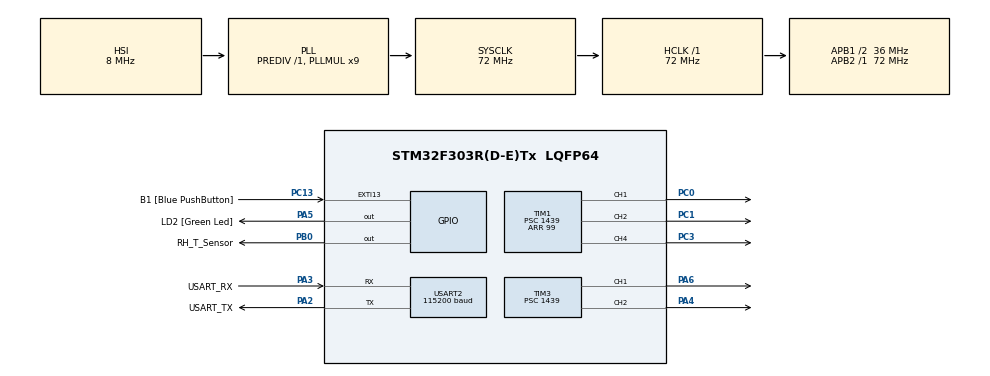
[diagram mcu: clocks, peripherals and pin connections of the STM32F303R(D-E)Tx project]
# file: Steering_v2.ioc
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Mcu.Family=STM32F3
Mcu.Name=STM32F303R(D-E)Tx
Mcu.Package=LQFP64
NVIC.PriorityGroup=NVIC_PRIORITYGROUP_0
NVIC.TIM2_IRQn=true\:0\:0\:false\:false\:true\:true\:true
NVIC.TIM4_IRQn=true\:0\:0\:true\:false\:true\:true\:true
PA13.GPIO_Label=TMS
PA13.Mode=Serial_Wire
PA13.Signal=SYS_JTMS-SWDIO
PA14.GPIO_Label=TCK
PA14.Mode=Serial_Wire
PA14.Signal=SYS_JTCK-SWCLK
PA2.GPIO_Label=USART_TX
PA2.GPIO_Mode=GPIO_MODE_AF_PP
PA2.GPIO_PuPd=GPIO_NOPULL
PA2.GPIO_Speed=GPIO_SPEED_FREQ_LOW
PA2.Mode=Asynchronous
PA2.Signal=USART2_TX
PA3.GPIO_Label=USART_RX
PA3.GPIO_Mode=GPIO_MODE_AF_PP
PA3.GPIO_PuPd=GPIO_NOPULL
PA3.GPIO_Speed=GPIO_SPEED_FREQ_LOW
PA3.Mode=Asynchronous
PA3.Signal=USART2_RX
PA4.Signal=S_TIM3_CH2
PA5.GPIO_Label=LD2 [Green Led]
PA5.GPIO_Mode=GPIO_MODE_OUTPUT_PP
PA5.GPIO_PuPd=GPIO_NOPULL
PA5.GPIO_Speed=GPIO_SPEED_FREQ_LOW
PA5.Signal=GPIO_Output
PA6.Signal=S_TIM3_CH1
PB0.GPIO_Label=RH_T_Sensor
PB0.Signal=GPIO_Output
PB3.GPIO_Label=SWO
PB3.Signal=SYS_JTDO-TRACESWO
PC0.Signal=S_TIM1_CH1
PC1.Signal=S_TIM1_CH2
PC13.GPIO_Label=B1 [Blue PushButton]
PC13.GPIO_ModeDefaultEXTI=GPIO_MODE_IT_FALLING
PC13.Signal=GPXTI13
PC14-OSC32_IN.Mode=LSE-External-Oscillator
PC14-OSC32_IN.Signal=RCC_OSC32_IN
PC15-OSC32_OUT.Mode=LSE-External-Oscillator
PC15-OSC32_OUT.Signal=RCC_OSC32_OUT
PC3.Signal=S_TIM1_CH4
PF0-OSC_IN.Mode=HSE-External-Clock-Source
PF0-OSC_IN.Signal=RCC_OSC_IN
PF1-OSC_OUT.Signal=RCC_OSC_OUT
ProjectManager.HeapSize=0x200
ProjectManager.StackSize=0x400
ProjectManager.TargetToolchain=SW4STM32
RCC.AHBFreq_Value=72000000
RCC.APB1CLKDivider=RCC_HCLK_DIV2
RCC.APB1Freq_Value=36000000
RCC.APB1TimFreq_Value=72000000
RCC.APB2Freq_Value=72000000
RCC.APB2TimFreq_Value=72000000
RCC.CortexFreq_Value=72000000
RCC.HCLKFreq_Value=72000000
RCC.HSE_VALUE=8000000
RCC.HSI_VALUE=8000000
RCC.PLLM=8
RCC.PLLMUL=RCC_PLL_MUL9
RCC.PLLN=336
RCC.PLLP=RCC_PLLP_DIV4
RCC.PLLQ=7
RCC.RCC_PLLsource_Clock_Source_FROM_HSE=RCC_HSE_PREDIV_DIV2
RCC.SYSCLKFreq_VALUE=72000000
RCC.SYSCLKSourceVirtual=RCC_SYSCLKSOURCE_PLLCLK
RCC.USBFreq_Value=72000000
SH.S_TIM1_CH1.0=TIM1_CH1,PWM Generation1 CH1
SH.S_TIM1_CH2.0=TIM1_CH2,PWM Generation2 CH2
SH.S_TIM1_CH4.0=TIM1_CH4,PWM Generation4 CH4
SH.S_TIM3_CH1.0=TIM3_CH1,PWM Generation1 CH1
SH.S_TIM3_CH2.0=TIM3_CH2,PWM Generation2 CH2
TIM1.Channel-PWM\ Generation1\ CH1=TIM_CHANNEL_1
TIM1.Channel-PWM\ Generation2\ CH2=TIM_CHANNEL_2
TIM1.Channel-PWM\ Generation4\ CH4=TIM_CHANNEL_4
TIM1.Period=99
TIM1.Prescaler=1439
TIM2.Period=999
TIM2.Prescaler=71
TIM3.Channel-PWM\ Generation1\ CH1=TIM_CHANNEL_1
TIM3.Channel-PWM\ Generation2\ CH2=TIM_CHANNEL_2
TIM3.Period=99
TIM3.Prescaler=1439
TIM4.Period=71
USART2.BaudRate=115200
USART2.VirtualMode-Asynchronous=VM_ASYNC
VP_TIM1_VS_ClockSourceINT.Mode=Internal
VP_TIM2_VS_ClockSourceINT.Mode=Internal
VP_TIM4_VS_ClockSourceINT.Mode=Internal
board=NUCLEO-F303RE

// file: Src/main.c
/* USER CODE BEGIN Header */
/**
 ******************************************************************************
 * @file           : main.c
 * @brief          : Main program body
 ******************************************************************************
 * @attention
 *
 * <h2><center>&copy; Copyright (c) 2019 STMicroelectronics.
 * All rights reserved.</center></h2>
 *
 * This software component is licensed by ST under BSD 3-Clause license,
 * the "License"; You may not use this file except in compliance with the
 * License. You may obtain a copy of the License at:
 *                        opensource.org/licenses/BSD-3-Clause
 *
 ******************************************************************************
 */
/* USER CODE END Header */

#include "main.h"

/* USER CODE BEGIN PD */
#define DELAY 1000 //oczekiwanie do komunikatu o braku odpowiedzi w ms

/* USER CODE END PD */

TIM_HandleTypeDef htim1;
TIM_HandleTypeDef htim2;
TIM_HandleTypeDef htim3;
TIM_HandleTypeDef htim4;

UART_HandleTypeDef huart2;

/* USER CODE BEGIN PV */
uint32_t timer_ms=0, timer_us=0;
uint16_t engine_timer=7000;
uint8_t RH_b1=0, RH_b2=0, T_b1=0, T_b2=0, sum=0;
uint8_t timer_ms_flag=0, timer_us_flag=0;
uint8_t error_flag=1;//flaga pozwalajaca na wylaczenie komunikatow o bledach sensora 1 - komunikaty wlaczone
uint8_t sensor_flag=0;//flaga pozwalajaca na wylaczenie odczytu z sensora 1 - odczyt wlaczony
uint8_t pullup_flag=1;//1 - z rezystorem pullup
uint8_t stage_ext=1;//etap obslugi czujnika
uint8_t pwm_vf=75, pwm_vrl=75, pwm_vrr=75;//silniki pionowe PC0 PC1 PC3
uint8_t pwm_hl=75, pwm_hr=75;//silniki poziome PA4 PA6

/* USER CODE END PV */

void SystemClock_Config(void);
static void MX_GPIO_Init(void);
static void MX_USART2_UART_Init(void);
static void MX_TIM2_Init(void);
static void MX_TIM4_Init(void);
static void MX_TIM1_Init(void);
static void MX_TIM3_Init(void);
/* USER CODE BEGIN PFP */
void HAL_TIM_PeriodElapsedCallback(TIM_HandleTypeDef *htim);
void sensor_procedure(void);
void control_procedure(void);
void init_engines(void);
void set_engine_duty(uint8_t engine, uint8_t duty);
void manual(void);
void engine_manual(void);
void commands_manual(void);
void toggle_pullup(void);
void GPIO_set_out(void);
void GPIO_set_in(void);
void DHT11_Start(void);
void check_response(void);
void read_data(void);
void send_data(void);
void send_char(char c);
int __io_putchar(int ch);
/* USER CODE END PFP */

int main(void)
{

  /* MCU Configuration--------------------------------------------------------*/

  /* Reset of all peripherals, Initializes the Flash interface and the Systick. */
  HAL_Init();

  /* Configure the system clock */
  SystemClock_Config();

  /* Initialize all configured peripherals */
  MX_GPIO_Init();
  MX_USART2_UART_Init();
  MX_TIM2_Init();
  MX_TIM4_Init();
  MX_TIM1_Init();
  MX_TIM3_Init();
  /* USER CODE BEGIN 2 */
	printf("Witaj w programie\n");
	manual();
	init_engines();
	HAL_TIM_Base_Start_IT(&htim2);
	HAL_TIM_Base_Start_IT(&htim4);
  /* USER CODE END 2 */

  /* Infinite loop */
	while (1)
	{

	}
}

void SystemClock_Config(void)
{
  RCC_OscInitTypeDef RCC_OscInitStruct = {0};
  RCC_ClkInitTypeDef RCC_ClkInitStruct = {0};
  RCC_PeriphCLKInitTypeDef PeriphClkInit = {0};

  /** Initializes the CPU, AHB and APB busses clocks
  */
  RCC_OscInitStruct.OscillatorType = RCC_OSCILLATORTYPE_HSI;
  RCC_OscInitStruct.HSIState = RCC_HSI_ON;
  RCC_OscInitStruct.HSICalibrationValue = RCC_HSICALIBRATION_DEFAULT;
  RCC_OscInitStruct.PLL.PLLState = RCC_PLL_ON;
  RCC_OscInitStruct.PLL.PLLSource = RCC_PLLSOURCE_HSI;
  RCC_OscInitStruct.PLL.PLLMUL = RCC_PLL_MUL9;
  RCC_OscInitStruct.PLL.PREDIV = RCC_PREDIV_DIV1;
  if (HAL_RCC_OscConfig(&RCC_OscInitStruct) != HAL_OK)
  {
    Error_Handler();
  }
  /** Initializes the CPU, AHB and APB busses clocks
  */
  RCC_ClkInitStruct.ClockType = RCC_CLOCKTYPE_HCLK|RCC_CLOCKTYPE_SYSCLK
                              |RCC_CLOCKTYPE_PCLK1|RCC_CLOCKTYPE_PCLK2;
  RCC_ClkInitStruct.SYSCLKSource = RCC_SYSCLKSOURCE_PLLCLK;
  RCC_ClkInitStruct.AHBCLKDivider = RCC_SYSCLK_DIV1;
  RCC_ClkInitStruct.APB1CLKDivider = RCC_HCLK_DIV2;
  RCC_ClkInitStruct.APB2CLKDivider = RCC_HCLK_DIV1;

  if (HAL_RCC_ClockConfig(&RCC_ClkInitStruct, FLASH_LATENCY_2) != HAL_OK)
  {
    Error_Handler();
  }
  PeriphClkInit.PeriphClockSelection = RCC_PERIPHCLK_USART2|RCC_PERIPHCLK_TIM1
                              |RCC_PERIPHCLK_TIM2|RCC_PERIPHCLK_TIM34;
  PeriphClkInit.Usart2ClockSelection = RCC_USART2CLKSOURCE_PCLK1;
  PeriphClkInit.Tim1ClockSelection = RCC_TIM1CLK_HCLK;
  PeriphClkInit.Tim2ClockSelection = RCC_TIM2CLK_HCLK;
  PeriphClkInit.Tim34ClockSelection = RCC_TIM34CLK_HCLK;
  if (HAL_RCCEx_PeriphCLKConfig(&PeriphClkInit) != HAL_OK)
  {
    Error_Handler();
  }
}

static void MX_TIM1_Init(void)
{

  TIM_ClockConfigTypeDef sClockSourceConfig = {0};
  TIM_MasterConfigTypeDef sMasterConfig = {0};
  TIM_OC_InitTypeDef sConfigOC = {0};
  TIM_BreakDeadTimeConfigTypeDef sBreakDeadTimeConfig = {0};

  htim1.Instance = TIM1;
  htim1.Init.Prescaler = 1439;
  htim1.Init.CounterMode = TIM_COUNTERMODE_UP;
  htim1.Init.Period = 99;
  htim1.Init.ClockDivision = TIM_CLOCKDIVISION_DIV1;
  htim1.Init.RepetitionCounter = 0;
  htim1.Init.AutoReloadPreload = TIM_AUTORELOAD_PRELOAD_DISABLE;
  if (HAL_TIM_Base_Init(&htim1) != HAL_OK)
  {
    Error_Handler();
  }
  sClockSourceConfig.ClockSource = TIM_CLOCKSOURCE_INTERNAL;
  if (HAL_TIM_ConfigClockSource(&htim1, &sClockSourceConfig) != HAL_OK)
  {
    Error_Handler();
  }
  if (HAL_TIM_PWM_Init(&htim1) != HAL_OK)
  {
    Error_Handler();
  }
  sMasterConfig.MasterOutputTrigger = TIM_TRGO_RESET;
  sMasterConfig.MasterOutputTrigger2 = TIM_TRGO2_RESET;
  sMasterConfig.MasterSlaveMode = TIM_MASTERSLAVEMODE_DISABLE;
  if (HAL_TIMEx_MasterConfigSynchronization(&htim1, &sMasterConfig) != HAL_OK)
  {
    Error_Handler();
  }
  sConfigOC.OCMode = TIM_OCMODE_PWM1;
  sConfigOC.Pulse = 0;
  sConfigOC.OCPolarity = TIM_OCPOLARITY_HIGH;
  sConfigOC.OCNPolarity = TIM_OCNPOLARITY_HIGH;
  sConfigOC.OCFastMode = TIM_OCFAST_DISABLE;
  sConfigOC.OCIdleState = TIM_OCIDLESTATE_RESET;
  sConfigOC.OCNIdleState = TIM_OCNIDLESTATE_RESET;
  if (HAL_TIM_PWM_ConfigChannel(&htim1, &sConfigOC, TIM_CHANNEL_1) != HAL_OK)
  {
    Error_Handler();
  }
  if (HAL_TIM_PWM_ConfigChannel(&htim1, &sConfigOC, TIM_CHANNEL_2) != HAL_OK)
  {
    Error_Handler();
  }
  if (HAL_TIM_PWM_ConfigChannel(&htim1, &sConfigOC, TIM_CHANNEL_4) != HAL_OK)
  {
    Error_Handler();
  }
  sBreakDeadTimeConfig.OffStateRunMode = TIM_OSSR_DISABLE;
  sBreakDeadTimeConfig.OffStateIDLEMode = TIM_OSSI_DISABLE;
  sBreakDeadTimeConfig.LockLevel = TIM_LOCKLEVEL_OFF;
  sBreakDeadTimeConfig.DeadTime = 0;
  sBreakDeadTimeConfig.BreakState = TIM_BREAK_DISABLE;
  sBreakDeadTimeConfig.BreakPolarity = TIM_BREAKPOLARITY_HIGH;
  sBreakDeadTimeConfig.BreakFilter = 0;
  sBreakDeadTimeConfig.Break2State = TIM_BREAK2_DISABLE;
  sBreakDeadTimeConfig.Break2Polarity = TIM_BREAK2POLARITY_HIGH;
  sBreakDeadTimeConfig.Break2Filter = 0;
  sBreakDeadTimeConfig.AutomaticOutput = TIM_AUTOMATICOUTPUT_DISABLE;
  if (HAL_TIMEx_ConfigBreakDeadTime(&htim1, &sBreakDeadTimeConfig) != HAL_OK)
  {
    Error_Handler();
  }
  HAL_TIM_MspPostInit(&htim1);

}

static void MX_TIM2_Init(void)
{

  TIM_ClockConfigTypeDef sClockSourceConfig = {0};
  TIM_MasterConfigTypeDef sMasterConfig = {0};

  htim2.Instance = TIM2;
  htim2.Init.Prescaler = 71;
  htim2.Init.CounterMode = TIM_COUNTERMODE_UP;
  htim2.Init.Period = 999;
  htim2.Init.ClockDivision = TIM_CLOCKDIVISION_DIV1;
  htim2.Init.AutoReloadPreload = TIM_AUTORELOAD_PRELOAD_DISABLE;
  if (HAL_TIM_Base_Init(&htim2) != HAL_OK)
  {
    Error_Handler();
  }
  sClockSourceConfig.ClockSource = TIM_CLOCKSOURCE_INTERNAL;
  if (HAL_TIM_ConfigClockSource(&htim2, &sClockSourceConfig) != HAL_OK)
  {
    Error_Handler();
  }
  sMasterConfig.MasterOutputTrigger = TIM_TRGO_RESET;
  sMasterConfig.MasterSlaveMode = TIM_MASTERSLAVEMODE_DISABLE;
  if (HAL_TIMEx_MasterConfigSynchronization(&htim2, &sMasterConfig) != HAL_OK)
  {
    Error_Handler();
  }

}

static void MX_TIM3_Init(void)
{

  TIM_MasterConfigTypeDef sMasterConfig = {0};
  TIM_OC_InitTypeDef sConfigOC = {0};

  htim3.Instance = TIM3;
  htim3.Init.Prescaler = 1439;
  htim3.Init.CounterMode = TIM_COUNTERMODE_UP;
  htim3.Init.Period = 99;
  htim3.Init.ClockDivision = TIM_CLOCKDIVISION_DIV1;
  htim3.Init.AutoReloadPreload = TIM_AUTORELOAD_PRELOAD_DISABLE;
  if (HAL_TIM_PWM_Init(&htim3) != HAL_OK)
  {
    Error_Handler();
  }
  sMasterConfig.MasterOutputTrigger = TIM_TRGO_RESET;
  sMasterConfig.MasterSlaveMode = TIM_MASTERSLAVEMODE_DISABLE;
  if (HAL_TIMEx_MasterConfigSynchronization(&htim3, &sMasterConfig) != HAL_OK)
  {
    Error_Handler();
  }
  sConfigOC.OCMode = TIM_OCMODE_PWM1;
  sConfigOC.Pulse = 0;
  sConfigOC.OCPolarity = TIM_OCPOLARITY_HIGH;
  sConfigOC.OCFastMode = TIM_OCFAST_DISABLE;
  if (HAL_TIM_PWM_ConfigChannel(&htim3, &sConfigOC, TIM_CHANNEL_1) != HAL_OK)
  {
    Error_Handler();
  }
  if (HAL_TIM_PWM_ConfigChannel(&htim3, &sConfigOC, TIM_CHANNEL_2) != HAL_OK)
  {
    Error_Handler();
  }
  HAL_TIM_MspPostInit(&htim3);

}

static void MX_TIM4_Init(void)
{

  TIM_ClockConfigTypeDef sClockSourceConfig = {0};
  TIM_MasterConfigTypeDef sMasterConfig = {0};

  htim4.Instance = TIM4;
  htim4.Init.Prescaler = 0;
  htim4.Init.CounterMode = TIM_COUNTERMODE_UP;
  htim4.Init.Period = 71;
  htim4.Init.ClockDivision = TIM_CLOCKDIVISION_DIV1;
  htim4.Init.AutoReloadPreload = TIM_AUTORELOAD_PRELOAD_DISABLE;
  if (HAL_TIM_Base_Init(&htim4) != HAL_OK)
  {
    Error_Handler();
  }
  sClockSourceConfig.ClockSource = TIM_CLOCKSOURCE_INTERNAL;
  if (HAL_TIM_ConfigClockSource(&htim4, &sClockSourceConfig) != HAL_OK)
  {
    Error_Handler();
  }
  sMasterConfig.MasterOutputTrigger = TIM_TRGO_RESET;
  sMasterConfig.MasterSlaveMode = TIM_MASTERSLAVEMODE_DISABLE;
  if (HAL_TIMEx_MasterConfigSynchronization(&htim4, &sMasterConfig) != HAL_OK)
  {
    Error_Handler();
  }

}

static void MX_USART2_UART_Init(void)
{

  huart2.Instance = USART2;
  huart2.Init.BaudRate = 115200;
  huart2.Init.WordLength = UART_WORDLENGTH_8B;
  huart2.Init.StopBits = UART_STOPBITS_1;
  huart2.Init.Parity = UART_PARITY_NONE;
  huart2.Init.Mode = UART_MODE_TX_RX;
  huart2.Init.HwFlowCtl = UART_HWCONTROL_NONE;
  huart2.Init.OverSampling = UART_OVERSAMPLING_16;
  huart2.Init.OneBitSampling = UART_ONE_BIT_SAMPLE_DISABLE;
  huart2.AdvancedInit.AdvFeatureInit = UART_ADVFEATURE_NO_INIT;
  if (HAL_UART_Init(&huart2) != HAL_OK)
  {
    Error_Handler();
  }

}

static void MX_GPIO_Init(void)
{
  GPIO_InitTypeDef GPIO_InitStruct = {0};

  /* GPIO Ports Clock Enable */
  __HAL_RCC_GPIOC_CLK_ENABLE();
  __HAL_RCC_GPIOF_CLK_ENABLE();
  __HAL_RCC_GPIOA_CLK_ENABLE();
  __HAL_RCC_GPIOB_CLK_ENABLE();

  /*Configure GPIO pin Output Level */
  HAL_GPIO_WritePin(LD2_GPIO_Port, LD2_Pin, GPIO_PIN_RESET);

  /*Configure GPIO pin Output Level */
  HAL_GPIO_WritePin(RH_T_Sensor_GPIO_Port, RH_T_Sensor_Pin, GPIO_PIN_RESET);

  /*Configure GPIO pin : B1_Pin */
  GPIO_InitStruct.Pin = B1_Pin;
  GPIO_InitStruct.Mode = GPIO_MODE_IT_FALLING;
  GPIO_InitStruct.Pull = GPIO_NOPULL;
  HAL_GPIO_Init(B1_GPIO_Port, &GPIO_InitStruct);

  /*Configure GPIO pin : LD2_Pin */
  GPIO_InitStruct.Pin = LD2_Pin;
  GPIO_InitStruct.Mode = GPIO_MODE_OUTPUT_PP;
  GPIO_InitStruct.Pull = GPIO_NOPULL;
  GPIO_InitStruct.Speed = GPIO_SPEED_FREQ_LOW;
  HAL_GPIO_Init(LD2_GPIO_Port, &GPIO_InitStruct);

  /*Configure GPIO pin : RH_T_Sensor_Pin */
  GPIO_InitStruct.Pin = RH_T_Sensor_Pin;
  GPIO_InitStruct.Mode = GPIO_MODE_OUTPUT_PP;
  GPIO_InitStruct.Pull = GPIO_NOPULL;
  GPIO_InitStruct.Speed = GPIO_SPEED_FREQ_LOW;
  HAL_GPIO_Init(RH_T_Sensor_GPIO_Port, &GPIO_InitStruct);

}

/* USER CODE BEGIN 4 */
/**
 * funkcja do obslugi przerwan od timerow
 */
void HAL_TIM_PeriodElapsedCallback(TIM_HandleTypeDef *htim){
	if(htim->Instance==TIM2){
		if(timer_ms_flag==1){
			timer_ms++;
		}
		if(engine_timer>0){
			engine_timer--;
			if(engine_timer==0){
				printf("Silniki gotowe\n");
			}
		}
	} else if(htim->Instance==TIM4){
		if(timer_us_flag==1){
			timer_us++;
		}
		control_procedure();
		if(sensor_flag==1){
			sensor_procedure();
		}
	}
}
/**
 * procedura obslugi czujnika
 * 1. inicjalizacja czujnika
 * 2. sprawdzanie odpowiedzi
 * 3. odczyt danych
 * 4. wysylanie danych
 */
void sensor_procedure(void){
	switch(stage_ext){
	case 1:
		DHT11_Start();
		break;
	case 2:
		check_response();
		break;
	case 3:
		read_data();
		break;
	case 4:
		send_data();
		break;
	}
}
/**
 * procedura do obslugi komend sterujacych
 */
void control_procedure(void){
	static uint8_t index=0, command=0;
	static uint8_t duty=0;
	if (__HAL_UART_GET_FLAG(&huart2, UART_FLAG_RXNE) == SET){
		uint8_t value;
		HAL_UART_Receive(&huart2, &value, 1, 100);
		switch(index){
		case 0:
			if(value=='s'){
				printf("%c\n",value);
				duty=75;
				set_engine_duty(1,duty);
				set_engine_duty(2, duty);
				set_engine_duty(3, duty);
				set_engine_duty(4, duty);
				set_engine_duty(5, duty);
			} else if(value=='?'){
				manual();
			} else if(value=='c'){
				if(sensor_flag==1){
					sensor_flag=0;
					printf("Odczyt z czujnika wylaczony.\n");
				} else if(sensor_flag==0){
					sensor_flag=1;
					printf("Odczyt z czujnika wlaczony.\n");
				}
			} else if(value=='e'){
				if(error_flag==1){
					error_flag=0;
					printf("Komunikaty o bledzie czujnika wylaczone.\n");
				} else if(error_flag==0){
					error_flag=1;
					printf("Komunikaty o bledzie czujnika wlaczone.\n");
				}
			} else if(value=='p'){
				toggle_pullup();
			} else if(value=='v'||value=='h'||(value>='1'&&value<='5')){
				if(engine_timer>0){
					printf("Silniki jeszcze nie sa gotowe.\n");
					printf("Odczekaj %d ms\n",engine_timer);
				} else{
					command=value;
					printf("%c\n",value);
					printf("Podaj wypelnienie\n");
					index=1;
				}
			} else{
				printf("Niewlasciwa komenda.\n");
				commands_manual();
			}
			break;
		case 1:
			if(value<'5'||value>'9'){
				printf("Niewlasciwy znak.\n");
				printf("Obslugiwane wypelnienie 50-99%%.\n");
			} else{
				duty=(value-'0')*10;
				printf("%c", value);
				index=2;
			}
			break;
		case 2:
			if(value<'0'||value>'9'){
				printf("Niewlasciwy znak.\n");
				printf("Obslugiwane wypelnienie 50-99%%.\n");
			} else{
				duty+=(value-'0');
				printf("%c\n", value);
				switch(command){
				case 'v':
					set_engine_duty(1,duty);
					set_engine_duty(2, duty);
					set_engine_duty(3, duty);
					break;
				case 'h':
					set_engine_duty(4, duty);
					set_engine_duty(5, duty);
					break;
				case '1':
					set_engine_duty(1,duty);
					break;
				case '2':
					set_engine_duty(2, duty);
					break;
				case '3':
					set_engine_duty(3, duty);
					break;
				case '4':
					set_engine_duty(4, duty);
					break;
				case '5':
					set_engine_duty(5, duty);
					break;
				}
				index=0;
			}
			break;
		}
	}
}
/**
 * inicjalizacja silnikow
 */
void init_engines(void){
	uint8_t duty=75;
	HAL_TIM_PWM_Start(&htim1, TIM_CHANNEL_1);
	HAL_TIM_PWM_Start(&htim1, TIM_CHANNEL_2);
	HAL_TIM_PWM_Start(&htim1, TIM_CHANNEL_4);
	HAL_TIM_PWM_Start(&htim3, TIM_CHANNEL_1);
	HAL_TIM_PWM_Start(&htim3, TIM_CHANNEL_2);
	pwm_vf=duty;
	TIM1->CCR1=pwm_vf;
	pwm_vrl=duty;
	TIM1->CCR2=pwm_vrl;
	pwm_vrr=duty;
	TIM1->CCR4=pwm_vrr;
	pwm_hl=duty;
	TIM3->CCR1=pwm_hl;
	pwm_hr=duty;
	TIM3->CCR2=pwm_hr;
}
/**
 * ustawianie wypelnienia silnikow
 */
void set_engine_duty(uint8_t engine, uint8_t duty){
	switch(engine){
	case 1:
		pwm_vf=duty;
		TIM1->CCR1=pwm_vf;
		printf("engine vf PWM=%2d%%\n",pwm_vf);
		break;
	case 2:
		pwm_vrl=duty;
		TIM1->CCR2=pwm_vrl;
		printf("engine vrl PWM=%2d%%\n",pwm_vrl);
		break;
	case 3:
		pwm_vrr=duty;
		TIM1->CCR4=pwm_vrr;
		printf("engine vrr PWM=%2d%%\n",pwm_vrr);
		break;
	case 4:
		pwm_hl=duty;
		TIM3->CCR1=pwm_hl;
		printf("engine hl PWM=%2d%%\n",pwm_hl);
		break;
	case 5:
		pwm_hr=duty;
		TIM3->CCR2=pwm_hr;
		printf("engine hr PWM=%2d%%\n",pwm_hl);
		break;
	}
}
/**
 * funkcja wyswietlajaca instrukcje
 */
void manual(void){
	engine_manual();
	commands_manual();
}
/**
 * funkcja wyswietlajaca oznaczenia silnikow wg pinow
 */
void engine_manual(void){
	printf("Oznaczenia silnikow:\n");
	printf("vf - PC0\t");
	printf("vrl - PC1\t");
	printf("vrr - PC3\n");
	printf("hl - PA4\t");
	printf("hr - PA6\n\n");
}
/**
 * funkcja wyswietlajaca obslugiwane komendy
 */
void commands_manual(void){
	printf("Obslugiwane komendy to:\n");
	printf("? - instrukcja\n");
	printf("c - wlaczenie lub wylaczenie odczytow z czujnika\n");
	printf("e - wlaczenie lub wylaczenie komunikatow o bledzie czujnika\n");
	printf("p - wlaczenie lub wylaczenie rezystora pullup.\n");
	printf("s - zatrzymanie wszystkich silnikow\n");
	printf("v - sterowanie silnikami pionowymi\n");
	printf("h - sterowanie silnikami poziomymi\n");
	printf("1 - sterowanie silnikiem vf\n");
	printf("2 - sterowanie silnikiem vrl\n");
	printf("3 - sterowanie silnikiem vrr\n");
	printf("4 - sterowanie silnikiem hl\n");
	printf("5 - sterowanie silnikiem hr\n\n\n");
}
/**
 * funkcja pozwalajaca na wlaczenie lub wylaczenie rezystora pullup
 */
void toggle_pullup(void){
	if(pullup_flag==1){
		pullup_flag=0;
		printf("Rezystor pullup zostanie wylaczony przy najblizszej zmianie konfiguracji pinu.\n");
	} else if(pullup_flag==0){
		pullup_flag=1;
		printf("Rezystor pullup zostanie wlaczony przy najblizszej zmianie konfiguracji pinu.\n");
	}
}
/**
 * funkcja ustawiajaca pin czujnika jako wyjscie
 */
void GPIO_set_out(void){
	GPIO_InitTypeDef GPIO_InitStruct = {0};
	GPIO_InitStruct.Pin = RH_T_Sensor_Pin;
	GPIO_InitStruct.Mode = GPIO_MODE_OUTPUT_PP;
	GPIO_InitStruct.Pull = GPIO_NOPULL;
	GPIO_InitStruct.Speed = GPIO_SPEED_FREQ_LOW;
	HAL_GPIO_Init(RH_T_Sensor_GPIO_Port, &GPIO_InitStruct);
}
/**
 * funkcja ustawiajaca pin czujnika jako wejscie
 */
void GPIO_set_in(void){
	GPIO_InitTypeDef GPIO_InitStruct = {0};
	GPIO_InitStruct.Pin = RH_T_Sensor_Pin;
	GPIO_InitStruct.Mode = GPIO_MODE_INPUT;
	if(pullup_flag==1){
		GPIO_InitStruct.Pull = GPIO_PULLUP;
	} else if(pullup_flag==0){
		GPIO_InitStruct.Pull = GPIO_NOPULL;
	}
	HAL_GPIO_Init(RH_T_Sensor_GPIO_Port, &GPIO_InitStruct);
}
/**
 * inicjalizacja czujnika:
 * 1. ustawianie pinu czujnika jako wyjscie
 * 2. wysylanie stanu niskiego na czujnik
 * 3. odczekiwanie 18 ms
 * 4. ustawianie pinu czujnika jako wejscie
 */
void DHT11_Start(void){
	static uint8_t stage_int=1;
	switch(stage_int){
	case 1:
		GPIO_set_out();
		HAL_GPIO_WritePin(RH_T_Sensor_GPIO_Port, RH_T_Sensor_Pin, GPIO_PIN_RESET);
		timer_ms_flag=1;
		stage_int=2;
		break;
	case 2:
		if(timer_ms>=18){
			GPIO_set_in();
			timer_ms_flag=0;
			timer_ms=0;
			stage_int=1;
			stage_ext=2;
		}
		break;
	}
}
/**
 * sprawdzanie odpowiedzi czujnika
 * 1. czekiwanie 40 us
 * 2. oczekiwanie na stan niski
 * 3. czekanie 80 us
 * 4. oczekiwanie na stan wysoki
 */
void check_response(void){
	static uint8_t stage_int=1;
	switch(stage_int){
	case 1:
		timer_us_flag=1;
		stage_int=2;
		break;
	case 2:
		if(timer_us>=40){
			timer_us_flag=0;
			timer_ms_flag=1;
			timer_us=0;
			stage_int=3;
		}
		break;
	case 3:
		if(HAL_GPIO_ReadPin(RH_T_Sensor_GPIO_Port, RH_T_Sensor_Pin)==GPIO_PIN_RESET){
			timer_us_flag=1;
			timer_ms_flag=0;
			timer_ms=0;
			stage_int=4;
		} else if(timer_ms>DELAY){
			/*
			 * jesli brak zmiany przez DELAY ms wysylany jest komunikat
			 * procedura obslugi czujnika zaczyna sie od poczatku
			 */
			timer_ms_flag=0;
			timer_ms=0;
			stage_int=1;
			if(error_flag==1){
				printf("Czujnik nie odpowiada\n");
				printf("Sprawdzanie odpowiedzi, stan wysoki\n");
			}
			stage_ext=1;
		}
		break;
	case 4:
		if(timer_us>=80){
			timer_us_flag=0;
			timer_ms_flag=1;
			timer_us=0;
			stage_int=5;
		}
		break;
	case 5:
		if(HAL_GPIO_ReadPin(RH_T_Sensor_GPIO_Port, RH_T_Sensor_Pin)==GPIO_PIN_SET){
			timer_ms_flag=0;
			timer_ms=0;
			stage_int=1;
			stage_ext=3;
		} else if(timer_ms>DELAY){
			/*
			 * jesli brak zmiany przez DELAY ms wysylany jest komunikat
			 * procedura obslugi czujnika zaczyna sie od poczatku
			 */
			timer_ms_flag=0;
			timer_ms=0;
			stage_int=1;
			if(error_flag==1){
				printf("Czujnik nie odpowiada\n");
				printf("Sprawdzanie odpowiedzi, stan niski\n");
			}
			stage_ext=1;
		}
		break;
	}
}
/**
 * funkcja do odczytu danych
 * odczytywane sa wartosci:
 * bajtu zawierajacego calkowita czesc wzglednej wilgotnosci
 * bajtu zawierajacego ulamkowa czesc wzglednej wilgotnosci (powinien byc rowny 0)
 * bajtu zawierajacego calkowita czesc temperatury
 * bajtu zawierajacego ulamkowa czesc temperatury (powinien byc rowny 0)
 * bajtu zawierajacego sume kontrolna rowna sumie pozostalych bajtow
 *
 * dane skladaja sie z 8 bitow
 * procedura odczytu dla kazdego bitu
 * 1. oczekiwanie na stan wysoki
 * 2. czekanie 40 us
 * 3. sprawdzanie stanu pinu
 * a) stan wysoki - zapis jedynki na odpowiedniej pozycji
 * b) stan niski - zapis zera na odpowiedniej pozycji
 * 4. oczekiwanie na stan niski
 * po odczycie 8 bitow wartosci zapisywane sa do odpowiednich zmiennych
 *
 */
void read_data(void){
	static uint8_t stage_int=1;
	static uint8_t index=0;
	static uint8_t byte=0;
	static uint8_t byte_index=0;
	if(index<8){
		switch(stage_int){
		case 1:
			timer_ms_flag=1;
			stage_int=2;
			break;
		case 2:
			if(HAL_GPIO_ReadPin(RH_T_Sensor_GPIO_Port, RH_T_Sensor_Pin)==GPIO_PIN_SET){
				timer_ms_flag=0;
				timer_ms=0;
				timer_us_flag=1;
				stage_int=3;
			} else if(timer_ms>DELAY){
				/*
				 * jesli brak zmiany przez DELAY ms wysylany jest komunikat
				 * procedura obslugi czujnika zaczyna sie od poczatku
				 */
				timer_ms_flag=0;
				timer_ms=0;
				stage_int=1;
				if(error_flag==1){
					printf("Czujnik nie odpowiada\n");
					printf("Odczyt danych, stan niski\n");
				}
				stage_ext=1;
			}
			break;
		case 3:
			if(timer_us>=40){
				timer_us_flag=0;
				timer_us=0;
				if(HAL_GPIO_ReadPin(RH_T_Sensor_GPIO_Port, RH_T_Sensor_Pin)==GPIO_PIN_RESET){
					byte &= ~(1<<(7-index));
				} else if(HAL_GPIO_ReadPin(RH_T_Sensor_GPIO_Port, RH_T_Sensor_Pin)==GPIO_PIN_SET){
					byte |= (1<<(7-index));
				}
				timer_ms_flag=1;
				stage_int=4;
			}
			break;
		case 4:
			if(HAL_GPIO_ReadPin(RH_T_Sensor_GPIO_Port, RH_T_Sensor_Pin)==GPIO_PIN_RESET){
				index++;
				stage_int=1;
				timer_ms_flag=0;
				timer_ms=0;
			} else if(timer_ms>DELAY){
				/*
				 * jesli brak zmiany przez DELAY ms wysylany jest komunikat
				 * procedura obslugi czujnika zaczyna sie od poczatku
				 */
				timer_ms_flag=0;
				timer_ms=0;
				stage_int=1;
				if(error_flag==1){
					printf("Czujnik nie odpowiada\n");
					printf("Odczyt danych, stan wysoki\n");
				}
				stage_ext=1;
			}
			break;
		}
	} else{
		printf("%d\n", byte);//wypisanie odczytanej wartosci bajta (do testow)
		index=0;
		switch(byte_index){
		case 0:
			RH_b1=byte;
			byte_index=1;
			break;
		case 1:
			RH_b2=byte;
			byte_index=2;
			break;
		case 2:
			T_b1=byte;
			byte_index=3;
			break;
		case 3:
			T_b2=byte;
			byte_index=4;
			break;
		case 4:
			sum=byte;
			byte_index=0;
			stage_ext=4;
			break;
		}
	}
}
/**
 * funkcja do wysylania odczytow z czujnika
 * 1. jesli suma kontrolna jest rowna sumie pozostalych bitow wysylany jest komunikat
 * 2. oczekiwanie 1s
 */
void send_data(void){
	static uint8_t stage_int=1;
	switch(stage_int){
	case 1:
		if(sum==RH_b1+RH_b2+T_b1+T_b2){
			printf("RH: %2d %% \t T: %2d *C\n", RH_b1, T_b1);

		}
		timer_ms_flag=1;
		stage_int=2;
		break;
	case 2:
		if(timer_ms>=1000){
			timer_ms_flag=0;
			timer_ms=0;
			stage_int=1;
			stage_ext=1;
		}
	}
}
/**
 * funkcja do wysylania pojedynczego znaku
 */
void send_char(char c){
	HAL_GPIO_WritePin(LD2_GPIO_Port,LD2_Pin, GPIO_PIN_SET);
	HAL_UART_Transmit(&huart2, (uint8_t*)&c, 1, 1);
	HAL_GPIO_WritePin(LD2_GPIO_Port,LD2_Pin, GPIO_PIN_RESET);
}
/**
 * funkcja zapisu znaku wykorzystywana przez printf
 */
int __io_putchar(int ch){
	if (ch == '\n'){
		send_char('\r');
	}
	send_char(ch);
	return ch;
}
/* USER CODE END 4 */

void Error_Handler(void)
{
}

/************************ (C) COPYRIGHT STMicroelectronics *****END OF FILE****/
